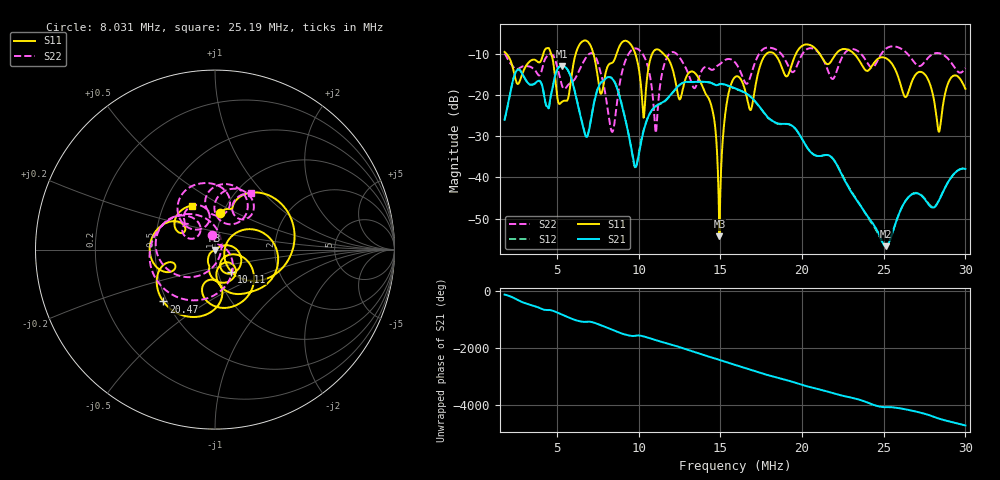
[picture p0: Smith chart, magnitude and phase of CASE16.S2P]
!Agilent Technologies,E5061B,MY49101568,A.02.00
!Date: Wed Mar 01 16:37:06 2023
!Data & Calibration Information:
!Freq	S11:SOLT2(OFF)	S21:SOLT2(OFF)	S12:SOLT2(OFF)	S22:SOLT2(OFF)
# Hz S dB R 50
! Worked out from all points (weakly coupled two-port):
!   1155 points, 1.8 MHz to 30 MHz, reference 50 ohm
!   highest |S21| = -12.89 dB at 5.294 MHz (marker M1); lowest = -56.7 dB at 25.14 MHz (marker M2)
!   lowest |S11| = -54.3 dB at 14.95 MHz (marker M3), VSWR 1.00, Z = 50.1 - j0.16 ohm
!   |S11| at or under -10 dB: 1.923 MHz to 4.164 MHz (2.241 MHz wide, 73.7 % of centre); 11.52 MHz to 17.81 MHz (6.288 MHz wide, 42.9 % of centre); 23.2 MHz to end of sweep (the widest 3 of 8)
!   |S22| runs from -29.2 to -8.1 dB; largest |S21 - S12| = 0.0047
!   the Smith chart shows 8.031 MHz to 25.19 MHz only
!   S11 on the Smith chart (normalised r, x): 8.031 MHz: 0.97, +0.41; 10.11 MHz: 1.16, -0.29; 20.47 MHz: 0.48, -0.33; 25.19 MHz: 0.69, +0.37
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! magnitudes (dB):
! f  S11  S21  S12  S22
! 1.8 MHz  -9.5  -26.0  -26.0  -9.9
! 2.631 MHz  -17.3  -13.8  -13.7  -13.6
! 4.488 MHz  -8.6  -23.2  -23.2  -10.1
! 5.294 MHz  -21.7  -12.9  -12.9  -17.4
! 6.516 MHz  -7.1  -26.3  -26.2  -12.8
! 8.031 MHz  -13.9  -15.8  -15.8  -21.4
! 8.422 MHz  -12.0  -16.2  -16.1  -28.8
! 10.11 MHz  -16.3  -32.3  -31.9  -9.3
! 11.21 MHz  -8.9  -22.3  -22.4  -21.5
! 11.94 MHz  -12.2  -20.0  -20.1  -9.8
! 14.31 MHz  -21.0  -16.9  -16.9  -13.5
! 14.95 MHz  -54.3  -17.3  -17.4  -12.6
! 15.9 MHz  -15.6  -18.3  -18.4  -12.0
! 16.85 MHz  -23.6  -20.4  -20.4  -15.4
! 17.78 MHz  -10.1  -24.8  -24.9  -8.5
! 20.47 MHz  -7.8  -33.6  -33.5  -8.6
! 20.62 MHz  -8.1  -34.2  -34.1  -8.6
! 25.14 MHz  -11.0  -56.7  -56.6  -8.7
! 25.19 MHz  -11.1  -56.6  -56.6  -8.6
! 25.31 MHz  -11.5  -55.9  -55.9  -8.3
! 28.39 MHz  -28.9  -45.6  -45.5  -9.8
! 30 MHz  -18.5  -37.9  -37.9  -13.4
